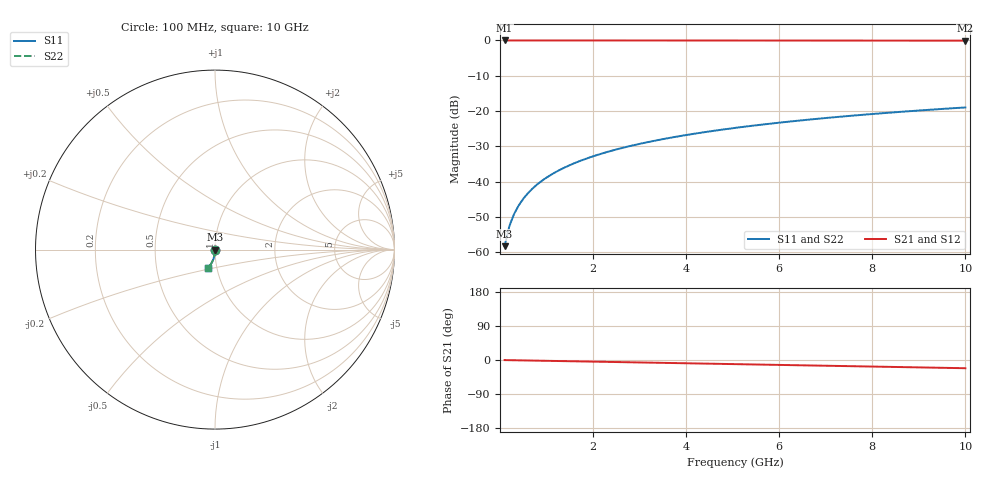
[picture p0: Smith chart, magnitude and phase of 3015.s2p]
# Hz S RI R 50.00
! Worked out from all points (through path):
!   100 points, 100 MHz to 10 GHz, reference 50 ohm
!   highest |S21| = 0.00 dB at 100 MHz (marker M1); lowest = -0.1 dB at 10 GHz (marker M2)
!   group delay of S21, straight-line fit = 6.03 ps
!   lowest |S11| = -58.2 dB at 100 MHz (marker M3), VSWR 1.00, Z = 50 - j0.115 ohm
!   |S11| at or under -10 dB: start of sweep to end of sweep
!   |S22| runs from -58.2 to -19.0 dB; largest |S21 - S12| = 0
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1e8  0.000436 -0.00114  0.9995 -0.00375  0.9995 -0.00375  0.000436 -0.00114
2e8  0.000423 -0.00229  0.9995 -0.0075  0.9995 -0.0075  0.000423 -0.00229
3e8  0.000402 -0.00343  0.9995 -0.0112  0.9995 -0.0112  0.000402 -0.00343
4e8  0.000371 -0.00458  0.9994 -0.015  0.9994 -0.015  0.000371 -0.00458
5e8  0.000332 -0.00572  0.9993 -0.0187  0.9993 -0.0187  0.000332 -0.00572
6e8  0.000284 -0.00687  0.9993 -0.0225  0.9993 -0.0225  0.000284 -0.00687
7e8  0.000227 -0.00801  0.9992 -0.0262  0.9992 -0.0262  0.000227 -0.00801
8e8  0.000161 -0.00916  0.999 -0.03  0.999 -0.03  0.000161 -0.00916
9e8  8.69e-05 -0.0103  0.9989 -0.0337  0.9989 -0.0337  8.69e-05 -0.0103
1.1e9  -8.76e-05 -0.0126  0.9986 -0.0412  0.9986 -0.0412  -8.76e-05 -0.0126
1.4e9  -0.000414 -0.016  0.998 -0.0525  0.998 -0.0525  -0.000414 -0.016
1.8e9  -0.000971 -0.0206  0.997 -0.0675  0.997 -0.0675  -0.000971 -0.0206
2.1e9  -0.00148 -0.024  0.9961 -0.0787  0.9961 -0.0787  -0.00148 -0.024
2.5e9  -0.00228 -0.0285  0.9947 -0.0937  0.9947 -0.0937  -0.00228 -0.0285
2.9e9  -0.00321 -0.0331  0.993 -0.1087  0.993 -0.1087  -0.00321 -0.0331
3.4e9  -0.00457 -0.0387  0.9905 -0.1273  0.9905 -0.1273  -0.00457 -0.0387
4.2e9  -0.00719 -0.0475  0.9858 -0.1572  0.9858 -0.1572  -0.00719 -0.0475
5.1e9  -0.0108 -0.0573  0.9793 -0.1905  0.9793 -0.1905  -0.0108 -0.0573
5.9e9  -0.0145 -0.0658  0.9725 -0.22  0.9725 -0.22  -0.0145 -0.0658
6.7e9  -0.0188 -0.0741  0.9647 -0.2493  0.9647 -0.2493  -0.0188 -0.0741
8.4e9  -0.0295 -0.0906  0.945 -0.3105  0.945 -0.3105  -0.0295 -0.0906
1e10  -0.0414 -0.1048  0.9226 -0.3669  0.9226 -0.3669  -0.0414 -0.1048
